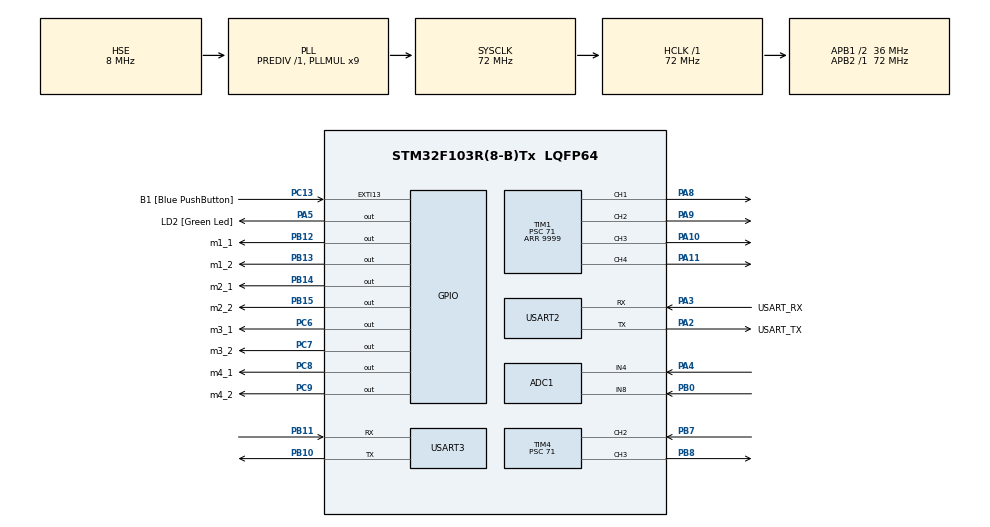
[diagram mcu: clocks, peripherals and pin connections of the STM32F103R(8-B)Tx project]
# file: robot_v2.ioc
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ADC1.Channel-0\#ChannelRegularConversion=ADC_CHANNEL_4
ADC1.Channel-1\#ChannelRegularConversion=ADC_CHANNEL_8
ADC1.ExternalTrigConv=ADC_EXTERNALTRIGCONV_T3_TRGO
ADC1.NbrOfConversion=2
ADC1.NbrOfConversionFlag=1
ADC1.Rank-0\#ChannelRegularConversion=1
ADC1.Rank-1\#ChannelRegularConversion=2
ADC1.SamplingTime-0\#ChannelRegularConversion=ADC_SAMPLETIME_239CYCLES_5
ADC1.SamplingTime-1\#ChannelRegularConversion=ADC_SAMPLETIME_239CYCLES_5
ADC1.master=1
Dma.ADC1.1.Direction=DMA_PERIPH_TO_MEMORY
Dma.ADC1.1.Instance=DMA1_Channel1
Dma.ADC1.1.MemDataAlignment=DMA_MDATAALIGN_HALFWORD
Dma.ADC1.1.MemInc=DMA_MINC_ENABLE
Dma.ADC1.1.Mode=DMA_NORMAL
Dma.ADC1.1.PeriphDataAlignment=DMA_PDATAALIGN_HALFWORD
Dma.ADC1.1.PeriphInc=DMA_PINC_DISABLE
Dma.ADC1.1.Priority=DMA_PRIORITY_LOW
Dma.Request0=USART3_RX
Dma.Request1=ADC1
Dma.USART3_RX.0.Direction=DMA_PERIPH_TO_MEMORY
Dma.USART3_RX.0.Instance=DMA1_Channel3
Dma.USART3_RX.0.MemDataAlignment=DMA_MDATAALIGN_BYTE
Dma.USART3_RX.0.MemInc=DMA_MINC_ENABLE
Dma.USART3_RX.0.Mode=DMA_NORMAL
Dma.USART3_RX.0.PeriphDataAlignment=DMA_PDATAALIGN_BYTE
Dma.USART3_RX.0.PeriphInc=DMA_PINC_DISABLE
Dma.USART3_RX.0.Priority=DMA_PRIORITY_LOW
Mcu.Family=STM32F1
Mcu.Name=STM32F103R(8-B)Tx
Mcu.Package=LQFP64
NVIC.DMA1_Channel1_IRQn=true\:0\:0\:false\:false\:true\:false\:true
NVIC.DMA1_Channel3_IRQn=true\:0\:0\:false\:false\:true\:false\:true
NVIC.EXTI15_10_IRQn=true\:0\:0\:false\:false\:true\:true\:true
NVIC.PriorityGroup=NVIC_PRIORITYGROUP_4
NVIC.TIM2_IRQn=true\:0\:0\:false\:true\:true\:2\:true\:true
NVIC.TIM4_IRQn=true\:0\:0\:false\:true\:true\:1\:true\:true
PA10.Signal=S_TIM1_CH3
PA11.Signal=S_TIM1_CH4
PA13.GPIO_Label=TMS
PA13.Mode=Serial_Wire
PA13.Signal=SYS_JTMS-SWDIO
PA14.GPIO_Label=TCK
PA14.Mode=Serial_Wire
PA14.Signal=SYS_JTCK-SWCLK
PA2.GPIO_Label=USART_TX
PA2.GPIO_Mode=GPIO_MODE_AF_PP
PA2.GPIO_PuPd=GPIO_NOPULL
PA2.GPIO_Speed=GPIO_SPEED_FREQ_LOW
PA2.Mode=Asynchronous
PA2.Signal=USART2_TX
PA3.GPIO_Label=USART_RX
PA3.GPIO_Mode=GPIO_MODE_AF_PP
PA3.GPIO_PuPd=GPIO_NOPULL
PA3.GPIO_Speed=GPIO_SPEED_FREQ_LOW
PA3.Mode=Asynchronous
PA3.Signal=USART2_RX
PA4.Signal=ADCx_IN4
PA5.GPIO_Label=LD2 [Green Led]
PA5.GPIO_ModeDefaultOutputPP=GPIO_MODE_OUTPUT_PP
PA5.GPIO_PuPd=GPIO_NOPULL
PA5.GPIO_Speed=GPIO_SPEED_FREQ_LOW
PA5.Signal=GPIO_Output
PA8.Signal=S_TIM1_CH1
PA9.Signal=S_TIM1_CH2
PB0.Signal=ADCx_IN8
PB10.Mode=Asynchronous
PB10.Signal=USART3_TX
PB11.Mode=Asynchronous
PB11.Signal=USART3_RX
PB12.GPIO_Label=m1_1
PB12.Signal=GPIO_Output
PB13.GPIO_Label=m1_2
PB13.Signal=GPIO_Output
PB14.GPIO_Label=m2_1
PB14.Signal=GPIO_Output
PB15.GPIO_Label=m2_2
PB15.Signal=GPIO_Output
PB3.GPIO_Label=SWO
PB3.Signal=SYS_JTDO-TRACESWO
PB7.Signal=S_TIM4_CH2
PB8.Signal=S_TIM4_CH3
PC13-TAMPER-RTC.GPIO_Label=B1 [Blue PushButton]
PC13-TAMPER-RTC.GPIO_PuPd=GPIO_NOPULL
PC13-TAMPER-RTC.Signal=GPXTI13
PC14-OSC32_IN.Mode=LSE-External-Oscillator
PC14-OSC32_IN.Signal=RCC_OSC32_IN
PC15-OSC32_OUT.Mode=LSE-External-Oscillator
PC15-OSC32_OUT.Signal=RCC_OSC32_OUT
PC6.GPIO_Label=m3_1
PC6.Signal=GPIO_Output
PC7.GPIO_Label=m3_2
PC7.Signal=GPIO_Output
PC8.GPIO_Label=m4_1
PC8.Signal=GPIO_Output
PC9.GPIO_Label=m4_2
PC9.Signal=GPIO_Output
PD0-OSC_IN.Mode=HSE-External-Clock-Source
PD0-OSC_IN.Signal=RCC_OSC_IN
PD1-OSC_OUT.Mode=HSE-External-Clock-Source
PD1-OSC_OUT.Signal=RCC_OSC_OUT
ProjectManager.HeapSize=0x200
ProjectManager.StackSize=0x400
ProjectManager.TargetToolchain=STM32CubeIDE
RCC.ADCPresc=RCC_ADCPCLK2_DIV6
RCC.AHBFreq_Value=72000000
RCC.APB1CLKDivider=RCC_HCLK_DIV2
RCC.APB1Freq_Value=36000000
RCC.APB1TimFreq_Value=72000000
RCC.APB2Freq_Value=72000000
RCC.APB2TimFreq_Value=72000000
RCC.HCLKFreq_Value=72000000
RCC.PLLMUL=RCC_PLL_MUL9
RCC.PLLSourceVirtual=RCC_PLLSOURCE_HSE
RCC.RTCClockSelection=RCC_RTCCLKSOURCE_LSE
RCC.SYSCLKFreq_VALUE=72000000
RCC.SYSCLKSource=RCC_SYSCLKSOURCE_PLLCLK
RCC.USBFreq_Value=72000000
SH.ADCx_IN4.0=ADC1_IN4,IN4
SH.ADCx_IN8.0=ADC1_IN8,IN8
SH.S_TIM1_CH1.0=TIM1_CH1,PWM Generation1 CH1
SH.S_TIM1_CH2.0=TIM1_CH2,PWM Generation2 CH2
SH.S_TIM1_CH3.0=TIM1_CH3,PWM Generation3 CH3
SH.S_TIM1_CH4.0=TIM1_CH4,PWM Generation4 CH4
SH.S_TIM4_CH2.0=TIM4_CH2,Input_Capture2_from_TI2
SH.S_TIM4_CH3.0=TIM4_CH3,PWM Generation3 CH3
TIM1.Channel-PWM\ Generation1\ CH1=TIM_CHANNEL_1
TIM1.Channel-PWM\ Generation2\ CH2=TIM_CHANNEL_2
TIM1.Channel-PWM\ Generation3\ CH3=TIM_CHANNEL_3
TIM1.Channel-PWM\ Generation4\ CH4=TIM_CHANNEL_4
TIM1.Period=9999
TIM1.Prescaler=71
TIM2.Period=9999
TIM2.Prescaler=719
TIM2.TIM_MasterOutputTrigger=TIM_TRGO_RESET
TIM2.TIM_MasterSlaveMode=TIM_MASTERSLAVEMODE_DISABLE
TIM3.Period=9999
TIM3.Prescaler=719
TIM3.TIM_MasterOutputTrigger=TIM_TRGO_UPDATE
TIM4.Channel-Input_Capture1_from_TI2_63=TIM_CHANNEL_1
TIM4.Channel-Input_Capture2_from_TI2=TIM_CHANNEL_2
TIM4.Channel-PWM\ Generation3\ CH3=TIM_CHANNEL_3
TIM4.ICPolarity_CH2=TIM_INPUTCHANNELPOLARITY_FALLING
TIM4.Prescaler=71
TIM4.Pulse-PWM\ Generation3\ CH3=11
USART2.VirtualMode=VM_ASYNC
USART3.VirtualMode=VM_ASYNC
VP_TIM1_VS_ClockSourceINT.Mode=Internal
VP_TIM2_VS_ClockSourceINT.Mode=Internal
VP_TIM3_VS_ClockSourceINT.Mode=Internal
VP_TIM4_VS_indirect_ch2.Mode=Input_Capture1_from_TI2_63
board=NUCLEO-F103RB

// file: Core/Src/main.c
/* USER CODE BEGIN Header */
/**
 ******************************************************************************
 * @file           : main.c
 * @brief          : Main program body
 ******************************************************************************
 * @attention
 *
 * <h2><center>&copy; Copyright (c) 2021 STMicroelectronics.
 * All rights reserved.</center></h2>
 *
 * This software component is licensed by ST under BSD 3-Clause license,
 * the "License"; You may not use this file except in compliance with the
 * License. You may obtain a copy of the License at:
 *                        opensource.org/licenses/BSD-3-Clause
 *
 ******************************************************************************
 */
/* USER CODE END Header */
#include "main.h"
#include "adc.h"
#include "dma.h"
#include "tim.h"
#include "usart.h"
#include "gpio.h"

/* USER CODE BEGIN Includes */
#include "stdlib.h"
/* USER CODE END Includes */

/* USER CODE BEGIN PM */
#define m1_p CCR1
#define m2_p CCR2
#define m3_p CCR3
#define m4_p CCR4
/* USER CODE END PM */

/* USER CODE BEGIN PV */
uint8_t data[20];
uint8_t uart_parse_flag = 0;
uint8_t uart_size;
char data_to_bt[20];
int x, y;
float distance;
uint8_t uart_disable_flag = 0;
uint16_t adc[2];
float battery_voltage=0,temp=0;
/* USER CODE END PV */

void SystemClock_Config(void);
static void MX_NVIC_Init(void);
/* USER CODE BEGIN PFP */
inline void forward()
{
	HAL_GPIO_WritePin(m2_2_GPIO_Port, m2_2_Pin, 0);
	HAL_GPIO_WritePin(m3_2_GPIO_Port, m3_2_Pin, 0);
	HAL_GPIO_WritePin(m4_2_GPIO_Port, m4_2_Pin, 0);
	HAL_GPIO_WritePin(m1_2_GPIO_Port, m1_2_Pin, 0);
	HAL_GPIO_WritePin(m1_1_GPIO_Port, m1_1_Pin, 1);
	HAL_GPIO_WritePin(m2_1_GPIO_Port, m2_1_Pin, 1);
	HAL_GPIO_WritePin(m3_1_GPIO_Port, m3_1_Pin, 1);
	HAL_GPIO_WritePin(m4_1_GPIO_Port, m4_1_Pin, 1);
}
inline void backwards()
{
	HAL_GPIO_WritePin(m1_1_GPIO_Port, m1_1_Pin, 0);
	HAL_GPIO_WritePin(m2_1_GPIO_Port, m2_1_Pin, 0);
	HAL_GPIO_WritePin(m3_1_GPIO_Port, m3_1_Pin, 0);
	HAL_GPIO_WritePin(m4_1_GPIO_Port, m4_1_Pin, 0);
	HAL_GPIO_WritePin(m2_2_GPIO_Port, m2_2_Pin, 1);
	HAL_GPIO_WritePin(m3_2_GPIO_Port, m3_2_Pin, 1);
	HAL_GPIO_WritePin(m4_2_GPIO_Port, m4_2_Pin, 1);
	HAL_GPIO_WritePin(m1_2_GPIO_Port, m1_2_Pin, 1);
}
/* USER CODE END PFP */

int main(void)
{

  /* MCU Configuration--------------------------------------------------------*/

  /* Reset of all peripherals, Initializes the Flash interface and the Systick. */
  HAL_Init();

  /* Configure the system clock */
  SystemClock_Config();

  /* Initialize all configured peripherals */
  MX_GPIO_Init();
  MX_USART2_UART_Init();
  MX_DMA_Init();
  MX_USART3_UART_Init();
  MX_TIM1_Init();
  MX_TIM3_Init();
  MX_TIM4_Init();
  MX_ADC1_Init();
  MX_TIM2_Init();

  /* Initialize interrupts */
  MX_NVIC_Init();
  /* USER CODE BEGIN 2 */
	HAL_TIM_Base_Start_IT(&htim4);
	HAL_TIM_PWM_Start(&htim1, TIM_CHANNEL_1);
	HAL_TIM_PWM_Start(&htim1, TIM_CHANNEL_2);
	HAL_TIM_PWM_Start(&htim1, TIM_CHANNEL_3);
	HAL_TIM_PWM_Start(&htim1, TIM_CHANNEL_4);
	TIM1->m1_p = 400;
	TIM1->m2_p = 400;
	TIM1->m3_p = 300;
	TIM1->m4_p = 400;
	HAL_GPIO_WritePin(m1_1_GPIO_Port, m1_1_Pin, 0);
	HAL_GPIO_WritePin(m2_1_GPIO_Port, m2_1_Pin, 0);
	HAL_GPIO_WritePin(m3_1_GPIO_Port, m3_1_Pin, 0);
	HAL_GPIO_WritePin(m4_1_GPIO_Port, m4_1_Pin, 0);
	HAL_GPIO_WritePin(m2_2_GPIO_Port, m2_2_Pin, 1);
	HAL_GPIO_WritePin(m3_2_GPIO_Port, m3_2_Pin, 1);
	HAL_GPIO_WritePin(m4_2_GPIO_Port, m4_2_Pin, 1);
	HAL_GPIO_WritePin(m1_2_GPIO_Port, m1_2_Pin, 1);
	HAL_UARTEx_ReceiveToIdle_DMA(&huart3, data, 20);
	HAL_TIM_IC_Start_IT(&htim4, TIM_CHANNEL_1);
	HAL_TIM_IC_Start_IT(&htim4, TIM_CHANNEL_2);
	HAL_TIM_PWM_Start(&htim4, TIM_CHANNEL_3);
	HAL_ADC_Start_DMA(&hadc1, (uint32_t*)adc, 2);
	HAL_TIM_Base_Start_IT(&htim2);
	HAL_Delay(200);
  /* USER CODE END 2 */

  /* Infinite loop */
  /* USER CODE BEGIN WHILE */
	while (1)
	{
		if(battery_voltage>6.5)
		{
			if (uart_disable_flag)
			{

				if (distance < 50)
				{
					HAL_GPIO_WritePin(m1_1_GPIO_Port, m1_1_Pin, 1);
					HAL_GPIO_WritePin(m2_1_GPIO_Port, m2_1_Pin, 1);
					HAL_GPIO_WritePin(m3_1_GPIO_Port, m3_1_Pin, 1);
					HAL_GPIO_WritePin(m4_1_GPIO_Port, m4_1_Pin, 1);
					HAL_GPIO_WritePin(m2_2_GPIO_Port, m2_2_Pin, 1);
					HAL_GPIO_WritePin(m3_2_GPIO_Port, m3_2_Pin, 1);
					HAL_GPIO_WritePin(m4_2_GPIO_Port, m4_2_Pin, 1);
					HAL_GPIO_WritePin(m1_2_GPIO_Port, m1_2_Pin, 1);
					TIM1->CCR1 = 9999;
					TIM1->CCR2 = 9999;
					TIM1->CCR3 = 9999;
					TIM1->CCR4 = 9999;
					HAL_Delay(10);
					TIM1->CCR1 = 4000;
					TIM1->CCR2 = 4000;
					TIM1->CCR3 = 4000;
					TIM1->CCR4 = 4000;
					HAL_GPIO_WritePin(m1_1_GPIO_Port, m1_1_Pin, 0);
					HAL_GPIO_WritePin(m2_1_GPIO_Port, m2_1_Pin, 0);
					HAL_GPIO_WritePin(m3_1_GPIO_Port, m3_1_Pin, 0);
					HAL_GPIO_WritePin(m4_1_GPIO_Port, m4_1_Pin, 0);
					HAL_GPIO_WritePin(m2_2_GPIO_Port, m2_2_Pin, 1);
					HAL_GPIO_WritePin(m3_2_GPIO_Port, m3_2_Pin, 1);
					HAL_GPIO_WritePin(m4_2_GPIO_Port, m4_2_Pin, 1);
					HAL_GPIO_WritePin(m1_2_GPIO_Port, m1_2_Pin, 1);
					HAL_Delay(500);
					HAL_GPIO_WritePin(m1_1_GPIO_Port, m1_1_Pin, 1);
					HAL_GPIO_WritePin(m2_1_GPIO_Port, m2_1_Pin, 1);
					HAL_GPIO_WritePin(m3_1_GPIO_Port, m3_1_Pin, 0);
					HAL_GPIO_WritePin(m4_1_GPIO_Port, m4_1_Pin, 0);
					HAL_GPIO_WritePin(m1_2_GPIO_Port, m1_2_Pin, 0);
					HAL_GPIO_WritePin(m2_2_GPIO_Port, m2_2_Pin, 0);
					HAL_GPIO_WritePin(m3_2_GPIO_Port, m3_2_Pin, 1);
					HAL_GPIO_WritePin(m4_2_GPIO_Port, m4_2_Pin, 1);

					HAL_Delay(500);

				}
				else
				{
					HAL_GPIO_WritePin(m1_1_GPIO_Port, m1_1_Pin, 1);
					HAL_GPIO_WritePin(m2_1_GPIO_Port, m2_1_Pin, 1);
					HAL_GPIO_WritePin(m3_1_GPIO_Port, m3_1_Pin, 1);
					HAL_GPIO_WritePin(m4_1_GPIO_Port, m4_1_Pin, 1);
					HAL_GPIO_WritePin(m2_2_GPIO_Port, m2_2_Pin, 0);
					HAL_GPIO_WritePin(m3_2_GPIO_Port, m3_2_Pin, 0);
					HAL_GPIO_WritePin(m4_2_GPIO_Port, m4_2_Pin, 0);
					HAL_GPIO_WritePin(m1_2_GPIO_Port, m1_2_Pin, 0);
					TIM1->CCR1 = 5000;
					TIM1->CCR2 = 5000;
					TIM1->CCR3 = 5000;
					TIM1->CCR4 = 5000;
				}
			}
			else
			{
				HAL_GPIO_TogglePin(LD2_GPIO_Port, LD2_Pin);
				if (uart_parse_flag)
				{
					if (data[0] == 'X')
					{
						x = atoi((char*) data + 2);
					}
					else if (data[0] == 'Y')
					{
						y = atoi((char*) data + 2);
					}
					if (x > 3000)
					{
						HAL_GPIO_WritePin(m1_1_GPIO_Port, m1_1_Pin, 1);
						HAL_GPIO_WritePin(m2_1_GPIO_Port, m2_1_Pin, 1);
						HAL_GPIO_WritePin(m3_1_GPIO_Port, m3_1_Pin, 1);
						HAL_GPIO_WritePin(m4_1_GPIO_Port, m4_1_Pin, 1);
						HAL_GPIO_WritePin(m2_2_GPIO_Port, m2_2_Pin, 0);
						HAL_GPIO_WritePin(m3_2_GPIO_Port, m3_2_Pin, 0);
						HAL_GPIO_WritePin(m4_2_GPIO_Port, m4_2_Pin, 0);
						HAL_GPIO_WritePin(m1_2_GPIO_Port, m1_2_Pin, 0);
						if (y > 0)
						{
							if (0 >= (x - y))
							{
								TIM1->m1_p = 0;
								TIM1->m2_p = 0;
								TIM1->m3_p = (x + y);
								TIM1->m4_p = (x + y);
							}
							else
							{
								TIM1->m1_p = x - y;
								TIM1->m2_p = x - y;
								TIM1->m3_p = (x + y);
								TIM1->m4_p = (x + y);
							}

						}
						else
						{
							if ((x + y) <= 0)
							{
								TIM1->m1_p = x - y;
								TIM1->m2_p = x - y;
								TIM1->m3_p = 0;
								TIM1->m4_p = 0;
							}
							else
							{
								TIM1->m1_p = x - y;
								TIM1->m2_p = x - y;
								TIM1->m3_p = x + y;
								TIM1->m4_p = x + y;
							}

						}
					}
					else if (x < -3000)
					{
						HAL_GPIO_WritePin(m1_1_GPIO_Port, m1_1_Pin, 0);
						HAL_GPIO_WritePin(m2_1_GPIO_Port, m2_1_Pin, 0);
						HAL_GPIO_WritePin(m3_1_GPIO_Port, m3_1_Pin, 0);
						HAL_GPIO_WritePin(m4_1_GPIO_Port, m4_1_Pin, 0);
						HAL_GPIO_WritePin(m2_2_GPIO_Port, m2_2_Pin, 1);
						HAL_GPIO_WritePin(m3_2_GPIO_Port, m3_2_Pin, 1);
						HAL_GPIO_WritePin(m4_2_GPIO_Port, m4_2_Pin, 1);
						HAL_GPIO_WritePin(m1_2_GPIO_Port, m1_2_Pin, 1);
						if (y > 0)
						{
							if ((-x - y) <= 0)
							{
								TIM1->m3_p = -x;
								TIM1->m4_p = -x;
								TIM1->m1_p = 0;
								TIM1->m2_p = 0;
							}
							else
							{
								TIM1->m3_p = -x;
								TIM1->m4_p = -x;
								TIM1->m1_p = -x - y;
								TIM1->m2_p = -x - y;
							}
						}
						else
						{

							if ((-x + y) <= 0)
							{
								TIM1->m3_p = 0;
								TIM1->m4_p = 0;
								TIM1->m1_p = (-x + y);
								TIM1->m2_p = (-x + y);
							}
							else
							{
								TIM1->m3_p = -x - y;
								TIM1->m4_p = -x - y;
								TIM1->m1_p = (-x + y);
								TIM1->m2_p = (-x + y);
							}

						}
					}
					else if (y > 3000)
					{
						TIM1->CCR1=0;
						TIM1->CCR2=0;
						TIM1->CCR3=y;
						TIM1->CCR4=y;
						HAL_GPIO_WritePin(m1_1_GPIO_Port, m1_1_Pin, 1);
						HAL_GPIO_WritePin(m2_1_GPIO_Port, m2_1_Pin, 1);
						HAL_GPIO_WritePin(m3_1_GPIO_Port, m3_1_Pin, 1);
						HAL_GPIO_WritePin(m4_1_GPIO_Port, m4_1_Pin, 1);
						HAL_GPIO_WritePin(m1_2_GPIO_Port, m1_2_Pin, 1);
						HAL_GPIO_WritePin(m2_2_GPIO_Port, m2_2_Pin, 1);
						HAL_GPIO_WritePin(m3_2_GPIO_Port, m3_2_Pin, 0);
						HAL_GPIO_WritePin(m4_2_GPIO_Port, m4_2_Pin, 0);
					}
					else if (y < -3000)
					{
						TIM1->CCR1=(-y);
						TIM1->CCR2=(-y);
						TIM1->CCR3=0;
						TIM1->CCR4=0;
						HAL_GPIO_WritePin(m1_1_GPIO_Port, m1_1_Pin, 1);
						HAL_GPIO_WritePin(m2_1_GPIO_Port, m2_1_Pin, 1);
						HAL_GPIO_WritePin(m3_1_GPIO_Port, m3_1_Pin, 1);
						HAL_GPIO_WritePin(m4_1_GPIO_Port, m4_1_Pin, 1);
						HAL_GPIO_WritePin(m1_2_GPIO_Port, m1_2_Pin, 0);
						HAL_GPIO_WritePin(m2_2_GPIO_Port, m2_2_Pin, 0);
						HAL_GPIO_WritePin(m3_2_GPIO_Port, m3_2_Pin, 1);
						HAL_GPIO_WritePin(m4_2_GPIO_Port, m4_2_Pin, 1);
					}
					else
					{
						TIM1->CCR1=0;
						TIM1->CCR2=0;
						TIM1->CCR3=0;
						TIM1->CCR4=0;
						HAL_GPIO_WritePin(m1_1_GPIO_Port, m1_1_Pin, 1);
						HAL_GPIO_WritePin(m2_1_GPIO_Port, m2_1_Pin, 1);
						HAL_GPIO_WritePin(m3_1_GPIO_Port, m3_1_Pin, 1);
						HAL_GPIO_WritePin(m4_1_GPIO_Port, m4_1_Pin, 1);
						HAL_GPIO_WritePin(m1_2_GPIO_Port, m1_2_Pin, 1);
						HAL_GPIO_WritePin(m2_2_GPIO_Port, m2_2_Pin, 1);
						HAL_GPIO_WritePin(m3_2_GPIO_Port, m3_2_Pin, 1);
						HAL_GPIO_WritePin(m4_2_GPIO_Port, m4_2_Pin, 1);
					}
				}
			}
		}
		else
		{
			TIM1->CCR1=0;
			TIM1->CCR2=0;
			TIM1->CCR3=0;
			TIM1->CCR4=0;
			while(1){HAL_GPIO_TogglePin(LD2_GPIO_Port, LD2_Pin);}
		}

    /* USER CODE END WHILE */

	}
}

void SystemClock_Config(void)
{
  RCC_OscInitTypeDef RCC_OscInitStruct = {0};
  RCC_ClkInitTypeDef RCC_ClkInitStruct = {0};
  RCC_PeriphCLKInitTypeDef PeriphClkInit = {0};

  /** Initializes the RCC Oscillators according to the specified parameters
  * in the RCC_OscInitTypeDef structure.
  */
  RCC_OscInitStruct.OscillatorType = RCC_OSCILLATORTYPE_HSE;
  RCC_OscInitStruct.HSEState = RCC_HSE_BYPASS;
  RCC_OscInitStruct.HSEPredivValue = RCC_HSE_PREDIV_DIV1;
  RCC_OscInitStruct.HSIState = RCC_HSI_ON;
  RCC_OscInitStruct.PLL.PLLState = RCC_PLL_ON;
  RCC_OscInitStruct.PLL.PLLSource = RCC_PLLSOURCE_HSE;
  RCC_OscInitStruct.PLL.PLLMUL = RCC_PLL_MUL9;
  if (HAL_RCC_OscConfig(&RCC_OscInitStruct) != HAL_OK)
  {
    Error_Handler();
  }
  /** Initializes the CPU, AHB and APB buses clocks
  */
  RCC_ClkInitStruct.ClockType = RCC_CLOCKTYPE_HCLK|RCC_CLOCKTYPE_SYSCLK
                              |RCC_CLOCKTYPE_PCLK1|RCC_CLOCKTYPE_PCLK2;
  RCC_ClkInitStruct.SYSCLKSource = RCC_SYSCLKSOURCE_PLLCLK;
  RCC_ClkInitStruct.AHBCLKDivider = RCC_SYSCLK_DIV1;
  RCC_ClkInitStruct.APB1CLKDivider = RCC_HCLK_DIV2;
  RCC_ClkInitStruct.APB2CLKDivider = RCC_HCLK_DIV1;

  if (HAL_RCC_ClockConfig(&RCC_ClkInitStruct, FLASH_LATENCY_2) != HAL_OK)
  {
    Error_Handler();
  }
  PeriphClkInit.PeriphClockSelection = RCC_PERIPHCLK_ADC;
  PeriphClkInit.AdcClockSelection = RCC_ADCPCLK2_DIV6;
  if (HAL_RCCEx_PeriphCLKConfig(&PeriphClkInit) != HAL_OK)
  {
    Error_Handler();
  }
}

/**
  * @brief NVIC Configuration.
  * @retval None
  */
static void MX_NVIC_Init(void)
{
  /* TIM4_IRQn interrupt configuration */
  HAL_NVIC_SetPriority(TIM4_IRQn, 0, 0);
  HAL_NVIC_EnableIRQ(TIM4_IRQn);
  /* TIM2_IRQn interrupt configuration */
  HAL_NVIC_SetPriority(TIM2_IRQn, 0, 0);
  HAL_NVIC_EnableIRQ(TIM2_IRQn);
}

/* USER CODE BEGIN 4 */
void HAL_UARTEx_RxEventCallback(UART_HandleTypeDef *huart, uint16_t Size)
{
	HAL_UARTEx_ReceiveToIdle_DMA(&huart3, data, 20);
	uart_parse_flag = 1;
	uart_size = Size;
	TIM2->CNT = 0;
	uart_disable_flag = 0;
}
void HAL_TIM_IC_CaptureCallback(TIM_HandleTypeDef *htim)
{
	if (htim->Instance == TIM4)
	{
		if (htim->Channel == HAL_TIM_ACTIVE_CHANNEL_1)
		{
			HAL_TIM_IC_Start_IT(&htim4, TIM_CHANNEL_1);

		}
		if (htim->Channel == HAL_TIM_ACTIVE_CHANNEL_2)
		{
			HAL_TIM_IC_Start_IT(&htim4, TIM_CHANNEL_2);
			float micro = ((TIM4->CCR2) - (TIM4->CCR1));
			distance = (micro / 58.0);
		}
	}
}
void HAL_ADC_ConvCpltCallback(ADC_HandleTypeDef* hadc)
{
	battery_voltage=adc[0]*3.300/4095.000/0.233;
	temp=adc[1]*330/4095;
}
void HAL_TIM_PeriodElapsedCallback(TIM_HandleTypeDef *htim)
{
	if (htim->Instance == TIM2)
	{
		uart_disable_flag = 1;
	}
	else if(htim->Instance==TIM4)
	{
		HAL_ADC_Start_DMA(&hadc1, (uint32_t*)adc, 2);
	}
}
/* USER CODE END 4 */

void Error_Handler(void)
{
	__disable_irq();
	while (1)
	{
	}
}
